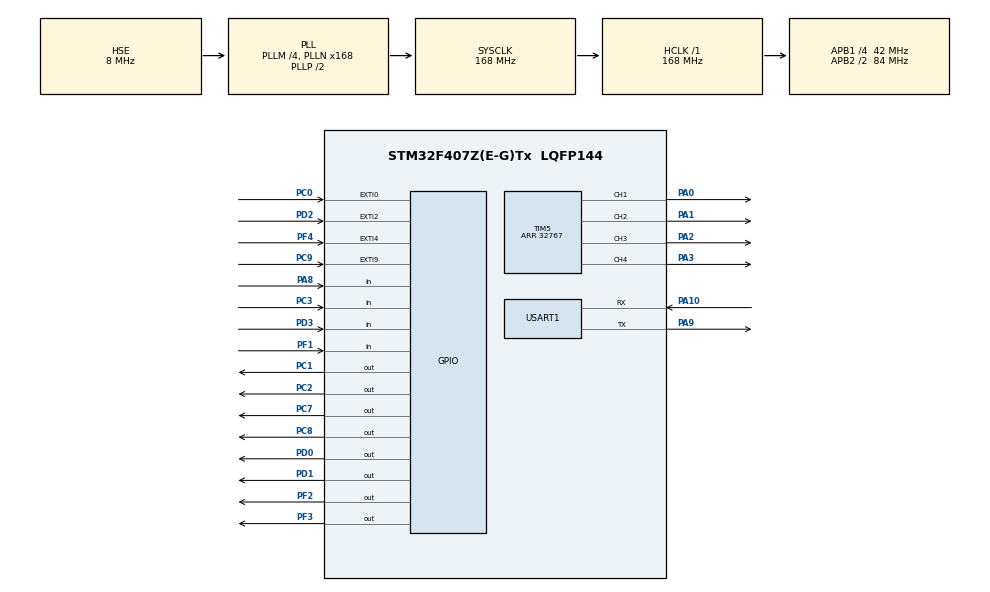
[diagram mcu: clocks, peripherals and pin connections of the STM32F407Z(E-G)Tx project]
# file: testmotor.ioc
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Mcu.Family=STM32F4
Mcu.Name=STM32F407Z(E-G)Tx
Mcu.Package=LQFP144
NVIC.EXTI0_IRQn=true\:0\:0\:false\:false\:true\:true\:true\:true
NVIC.PriorityGroup=NVIC_PRIORITYGROUP_4
NVIC.TIM2_IRQn=true\:0\:0\:false\:false\:true\:true\:true\:true
NVIC.TIM3_IRQn=true\:0\:0\:false\:false\:true\:true\:true\:true
NVIC.TIM4_IRQn=true\:0\:0\:false\:false\:true\:true\:true\:true
NVIC.USART1_IRQn=true\:0\:0\:false\:false\:true\:true\:true\:true
PA0-WKUP.Signal=S_TIM5_CH1
PA1.Signal=S_TIM5_CH2
PA10.Mode=Asynchronous
PA10.Signal=USART1_RX
PA13.Mode=Serial_Wire
PA13.Signal=SYS_JTMS-SWDIO
PA14.Mode=Serial_Wire
PA14.Signal=SYS_JTCK-SWCLK
PA2.Signal=S_TIM5_CH3
PA3.Signal=S_TIM5_CH4
PA8.GPIO_PuPd=GPIO_PULLUP
PA8.Signal=GPIO_Input
PA9.Mode=Asynchronous
PA9.Signal=USART1_TX
PC0.GPIO_PuPd=GPIO_PULLDOWN
PC0.Signal=GPXTI0
PC1.Signal=GPIO_Output
PC2.Signal=GPIO_Output
PC3.GPIO_PuPd=GPIO_PULLUP
PC3.Signal=GPIO_Input
PC7.Signal=GPIO_Output
PC8.Signal=GPIO_Output
PC9.GPIO_PuPd=GPIO_PULLDOWN
PC9.Signal=GPXTI9
PD0.Signal=GPIO_Output
PD1.Signal=GPIO_Output
PD2.GPIO_PuPd=GPIO_PULLDOWN
PD2.Signal=GPXTI2
PD3.GPIO_PuPd=GPIO_PULLUP
PD3.Signal=GPIO_Input
PF1.GPIO_PuPd=GPIO_PULLUP
PF1.Signal=GPIO_Input
PF2.Signal=GPIO_Output
PF3.Signal=GPIO_Output
PF4.GPIO_PuPd=GPIO_PULLDOWN
PF4.Signal=GPXTI4
PH0-OSC_IN.Mode=HSE-External-Oscillator
PH0-OSC_IN.Signal=RCC_OSC_IN
PH1-OSC_OUT.Mode=HSE-External-Oscillator
PH1-OSC_OUT.Signal=RCC_OSC_OUT
ProjectManager.HeapSize=0x200
ProjectManager.StackSize=0x400
ProjectManager.TargetToolchain=MDK-ARM V5.32
RCC.48MHZClocksFreq_Value=84000000
RCC.AHBFreq_Value=168000000
RCC.APB1CLKDivider=RCC_HCLK_DIV4
RCC.APB1Freq_Value=42000000
RCC.APB1TimFreq_Value=84000000
RCC.APB2CLKDivider=RCC_HCLK_DIV2
RCC.APB2Freq_Value=84000000
RCC.APB2TimFreq_Value=168000000
RCC.CortexFreq_Value=168000000
RCC.HCLKFreq_Value=168000000
RCC.HSE_VALUE=8000000
RCC.HSI_VALUE=16000000
RCC.LSE_VALUE=32768
RCC.PLLM=4
RCC.PLLN=168
RCC.PLLSourceVirtual=RCC_PLLSOURCE_HSE
RCC.SYSCLKFreq_VALUE=168000000
RCC.SYSCLKSource=RCC_SYSCLKSOURCE_PLLCLK
RCC.VCOOutputFreq_Value=336000000
SH.S_TIM5_CH1.0=TIM5_CH1,PWM Generation1 CH1
SH.S_TIM5_CH2.0=TIM5_CH2,PWM Generation2 CH2
SH.S_TIM5_CH3.0=TIM5_CH3,PWM Generation3 CH3
SH.S_TIM5_CH4.0=TIM5_CH4,PWM Generation4 CH4
TIM3.AutoReloadPreload=TIM_AUTORELOAD_PRELOAD_ENABLE
TIM3.Period=1000-1
TIM3.Prescaler=1000-1
TIM5.Channel-PWM\ Generation1\ CH1=TIM_CHANNEL_1
TIM5.Channel-PWM\ Generation2\ CH2=TIM_CHANNEL_2
TIM5.Channel-PWM\ Generation3\ CH3=TIM_CHANNEL_3
TIM5.Channel-PWM\ Generation4\ CH4=TIM_CHANNEL_4
TIM5.Period=32767
USART1.VirtualMode=VM_ASYNC
VP_TIM1_VS_ClockSourceINT.Mode=Internal
VP_TIM2_VS_ClockSourceINT.Mode=Internal
VP_TIM3_VS_ClockSourceINT.Mode=Internal
VP_TIM4_VS_ClockSourceINT.Mode=Internal
board=custom

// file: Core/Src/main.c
/* USER CODE BEGIN Header */
/**
  ******************************************************************************
  * @file           : main.c
  * @brief          : Main program body
  ******************************************************************************
  * @attention
  *
  * Copyright (c) 2023 STMicroelectronics.
  * All rights reserved.
  *
  * This software is licensed under terms that can be found in the LICENSE file
  * in the root directory of this software component.
  * If no LICENSE file comes with this software, it is provided AS-IS.
  *
  ******************************************************************************
  */
/* USER CODE END Header */
#include "main.h"
#include "tim.h"
#include "usart.h"
#include "gpio.h"

/* USER CODE BEGIN Includes */
#include "chassis.hpp"
#include "motor.hpp"
#include "flag.hpp"
#include <string.h>
#include <stdio.h>
/* USER CODE END Includes */

/* USER CODE BEGIN PTD */
#undef HSE_VALUE     // 取消HSE_VALUE
#define HSE_VALUE 8000000  // 重新定义
/* USER CODE END PTD */

void SystemClock_Config(void);

/* USER CODE BEGIN 0 */
Chassis chassis(1.0,1.0);
flag flagset;
uint8_t pwmdata[10];
extern unsigned int counteri;
unsigned int pwmoutput,onebite;
/* USER CODE END 0 */

int main(void)
{

  /* MCU Configuration--------------------------------------------------------*/

  /* Reset of all peripherals, Initializes the Flash interface and the Systick. */
  HAL_Init();

  /* Configure the system clock */
  SystemClock_Config();

  /* Initialize all configured peripherals */
  MX_GPIO_Init();
  MX_TIM5_Init();
  MX_TIM3_Init();
  MX_TIM4_Init();
  MX_USART1_UART_Init();
  MX_TIM2_Init();
  MX_TIM1_Init();
  /* USER CODE BEGIN 2 */
  HAL_TIM_PWM_Start(&htim5,TIM_CHANNEL_2);
  HAL_TIM_Base_Start_IT(&htim3);
  //HAL_TIM_Base_Start_IT(&htim4);
	HAL_TIM_Base_Start_IT(&htim2);

  __HAL_UART_CLEAR_IDLEFLAG(&huart1);//清除空闲中断标志
  __HAL_UART_ENABLE_IT(&huart1, UART_IT_IDLE | UART_IT_RXNE);//�??启空闲中断和接收中断
  HAL_UART_Receive_IT(&huart1, pwmdata, 100);//�??启一次中断式接收

   //HAL_GPIO_WritePin(GPIOA,GPIO_PIN_1,GPIO_PIN_SET);
  /* USER CODE END 2 */

  /* Infinite loop */
  /* USER CODE BEGIN WHILE */
  while (1)
  {
    HAL_Delay(5000);
    if(flagset.test2==1){
      //chassis.motora.set_definition(3.5);
      chassis.speed.setspeed(0.2,0,0);
      flagset.test2=0;
    }
    if(flagset.test3==1){
      //chassis.motora.set_definition(1.5);
      flagset.test3=0;
    }
		if(flagset.counterflag){

				pwmoutput=0;
				counteri=0;
		    while ((pwmdata[counteri] >='0') && (pwmdata[counteri] <='9') &&(counteri<10))
				{
						onebite=pwmdata[counteri]-'0';
						pwmoutput=pwmoutput*10+onebite;
						counteri++;
				}
				HAL_UART_Receive_IT(&huart1, pwmdata, 100);//�??启一次中断式接收
    		flagset.counterflag=0;
    }
    /* USER CODE END WHILE */

    /* USER CODE BEGIN 3 */
    if(flagset.speedtestflag){
      chassis.Move_Transfrom();
      chassis.do_motor_speed();
      chassis.set_all_def();
      /*float speed=chassis.return_speed();
			uint8_t speeddata[10];
			int	length=sprintf((char *)speeddata,"%.3f\n",speed);
	    HAL_UART_Transmit(&huart1, speeddata, length , 200);*/
      flagset.speedtestflag=0;
    }

    if(flagset.motoroutflag){
      chassis.do_motor_output();
      flagset.motoroutflag=0;
    }
}
	//	chassis.do_motor_output(8191,0,0,0);
  /* USER CODE END 3 */
}

void SystemClock_Config(void)
{
  RCC_OscInitTypeDef RCC_OscInitStruct = {0};
  RCC_ClkInitTypeDef RCC_ClkInitStruct = {0};

  /** Configure the main internal regulator output voltage
  */
  __HAL_RCC_PWR_CLK_ENABLE();
  __HAL_PWR_VOLTAGESCALING_CONFIG(PWR_REGULATOR_VOLTAGE_SCALE1);

  /** Initializes the RCC Oscillators according to the specified parameters
  * in the RCC_OscInitTypeDef structure.
  */
  RCC_OscInitStruct.OscillatorType = RCC_OSCILLATORTYPE_HSE;
  RCC_OscInitStruct.HSEState = RCC_HSE_ON;
  RCC_OscInitStruct.PLL.PLLState = RCC_PLL_ON;
  RCC_OscInitStruct.PLL.PLLSource = RCC_PLLSOURCE_HSE;
  RCC_OscInitStruct.PLL.PLLM = 4;
  RCC_OscInitStruct.PLL.PLLN = 168;
  RCC_OscInitStruct.PLL.PLLP = RCC_PLLP_DIV2;
  RCC_OscInitStruct.PLL.PLLQ = 4;
  if (HAL_RCC_OscConfig(&RCC_OscInitStruct) != HAL_OK)
  {
    Error_Handler();
  }

  /** Initializes the CPU, AHB and APB buses clocks
  */
  RCC_ClkInitStruct.ClockType = RCC_CLOCKTYPE_HCLK|RCC_CLOCKTYPE_SYSCLK
                              |RCC_CLOCKTYPE_PCLK1|RCC_CLOCKTYPE_PCLK2;
  RCC_ClkInitStruct.SYSCLKSource = RCC_SYSCLKSOURCE_PLLCLK;
  RCC_ClkInitStruct.AHBCLKDivider = RCC_SYSCLK_DIV1;

  RCC_ClkInitStruct.APB1CLKDivider = RCC_HCLK_DIV4;
  RCC_ClkInitStruct.APB2CLKDivider = RCC_HCLK_DIV2;

  if (HAL_RCC_ClockConfig(&RCC_ClkInitStruct, FLASH_LATENCY_5) != HAL_OK)
  {
    Error_Handler();
  }
}

void Error_Handler(void)
{
  __disable_irq();
  while (1)
  {
  }
}
